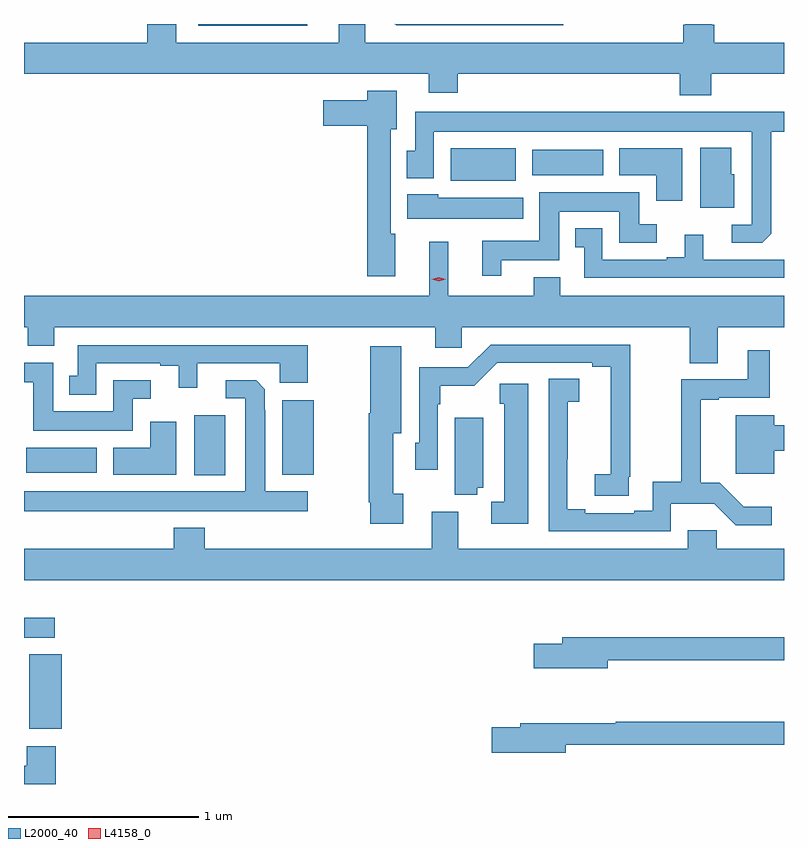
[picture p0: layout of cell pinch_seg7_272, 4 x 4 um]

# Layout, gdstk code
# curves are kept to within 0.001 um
import gdstk
lib = gdstk.Library(unit=1e-6, precision=1e-09)
def R(c, l, rs):  # rectangles x0, y0, x1, y1
    for r in rs: c.add(gdstk.rectangle(r[:2], r[2:], *l))
def P(c, l, *ps):  # polygons
    for p in ps: c.add(gdstk.Polygon(p, *l))
L2000_40 = (2000, 40)
L4158_0 = (4158, 0)

pinch_seg7_272 = lib.new_cell('pinch_seg7_272')
R(pinch_seg7_272, L2000_40, [(531.866,1053.113,532.037,1053.505), (531.838,1053.593,532,1053.697), (532.733,1054.448,532.897,1054.765), (533.198,1054.451,533.364,1054.843), (531.849,1054.46,532.222,1054.594), (534.083,1055.999,534.427,1056.169), (534.513,1056.026,534.886,1056.16), (532.755,1056.813,533.329,1056.823)])
P(pinch_seg7_272, L2000_40, [(534.676,1056.823),(533.789,1056.823),(533.796,1056.816),(534.676,1056.816)],
  [(535.454,1056.56),(535.838,1056.56),(535.838,1056.724),(535.472,1056.724),(535.472,1056.82),(535.459,1056.82),(535.459,1056.823),(535.319,1056.823),(535.319,1056.82),(535.307,1056.82),(535.307,1056.724),(533.634,1056.724),(533.634,1056.823),(533.495,1056.823),(533.495,1056.724),(532.639,1056.724),(532.639,1056.823),(532.487,1056.823),(532.487,1056.724),(531.838,1056.724),(531.838,1056.56),(533.969,1056.56),(533.969,1056.461),(534.122,1056.461),(534.122,1056.56),(535.289,1056.56),(535.289,1056.449),(535.454,1056.449)],
  [(533.791,1055.718),(533.767,1055.718),(533.767,1056.269),(533.8,1056.269),(533.8,1056.472),(533.645,1056.472),(533.645,1056.421),(533.412,1056.421),(533.412,1056.287),(533.645,1056.287),(533.645,1055.496),(533.791,1055.496)],
  [(535.77,1055.719),(535.771,1056.257),(535.838,1056.257),(535.838,1056.361),(533.897,1056.361),(533.897,1056.156),(533.852,1056.156),(533.852,1056.012),(533.994,1056.012),(533.994,1056.257),(535.667,1056.257),(535.667,1055.766),(535.563,1055.766),(535.563,1055.673),(535.724,1055.673)],
  [(535.576,1056.033),(535.561,1056.033),(535.561,1056.172),(535.397,1056.172),(535.397,1055.856),(535.576,1055.856)],
  [(535.303,1056.169),(534.971,1056.169),(534.971,1056.026),(535.166,1056.026),(535.166,1055.892),(535.303,1055.892)],
  [(534.349,1055.579),(534.655,1055.579),(534.655,1055.834),(534.971,1055.834),(534.971,1055.673),(535.168,1055.673),(535.168,1055.769),(535.075,1055.769),(535.075,1055.938),(534.551,1055.938),(534.551,1055.683),(534.251,1055.683),(534.251,1055.499),(534.349,1055.499)],
  [(534.466,1055.908),(534.018,1055.908),(534.018,1055.926),(533.856,1055.926),(533.856,1055.798),(534.466,1055.798)],
  [(535.838,1055.583),(535.414,1055.583),(535.414,1055.713),(535.316,1055.713),(535.316,1055.596),(535.22,1055.596),(535.22,1055.583),(534.882,1055.583),(534.882,1055.749),(534.74,1055.749),(534.74,1055.649),(534.786,1055.649),(534.786,1055.487),(535.838,1055.487)],
  [(535.489,1055.228),(535.838,1055.228),(535.838,1055.392),(534.661,1055.392),(534.661,1055.491),(534.521,1055.491),(534.521,1055.392),(534.071,1055.392),(534.071,1055.677),(533.972,1055.677),(533.972,1055.392),(531.838,1055.392),(531.838,1055.228),(531.857,1055.228),(531.857,1055.129),(531.997,1055.129),(531.997,1055.228),(534.002,1055.228),(534.002,1055.118),(534.141,1055.118),(534.141,1055.228),(535.342,1055.228),(535.342,1055.038),(535.489,1055.038)],
  [(535.022,1054.441),(535.028,1054.441),(535.028,1055.136),(534.294,1055.136),(534.174,1055.016),(533.919,1055.016),(533.919,1054.62),(533.898,1054.62),(533.898,1054.476),(534.015,1054.476),(534.015,1054.823),(534.028,1054.823),(534.028,1054.919),(534.209,1054.919),(534.33,1055.04),(534.83,1055.04),(534.83,1055.02),(534.926,1055.02),(534.925,1054.454),(534.843,1054.454),(534.843,1054.339),(535.022,1054.339)],
  [(532.218,1055.037),(532.556,1055.037),(532.556,1055.025),(532.652,1055.025),(532.652,1054.908),(532.75,1054.908),(532.75,1055.037),(533.184,1055.037),(533.184,1054.934),(533.331,1054.934),(533.331,1055.133),(532.122,1055.133),(532.122,1054.971),(532.076,1054.971),(532.076,1054.871),(532.218,1054.871)],
  [(533.833,1054.35),(533.782,1054.35),(533.782,1054.67),(533.824,1054.67),(533.824,1055.128),(533.66,1055.128),(533.66,1054.774),(533.653,1054.774),(533.653,1054.306),(533.66,1054.306),(533.66,1054.194),(533.833,1054.194)],
  [(535.242,1054.298),(535.471,1054.298),(535.584,1054.185),(535.774,1054.185),(535.774,1054.282),(535.625,1054.282),(535.499,1054.408),(535.4,1054.408),(535.4,1054.845),(535.495,1054.845),(535.495,1054.857),(535.763,1054.857),(535.763,1055.107),(535.646,1055.107),(535.646,1054.953),(535.297,1054.953),(535.297,1054.415),(535.146,1054.415),(535.146,1054.262),(535.049,1054.262),(535.049,1054.248),(534.793,1054.248),(534.793,1054.268),(534.697,1054.268),(534.697,1054.531),(534.699,1054.531),(534.699,1054.835),(534.76,1054.835),(534.76,1054.955),(534.6,1054.955),(534.6,1054.152),(535.242,1054.152)],
  [(532.411,1054.851),(532.504,1054.851),(532.504,1054.947),(532.307,1054.947),(532.307,1054.786),(531.991,1054.786),(531.991,1055.041),(531.838,1055.041),(531.838,1054.937),(531.887,1054.937),(531.887,1054.682),(532.411,1054.682)],
  [(533.332,1054.363),(533.107,1054.363),(533.106,1054.901),(533.06,1054.947),(532.899,1054.947),(532.899,1054.854),(533.003,1054.854),(533.003,1054.363),(531.838,1054.363),(531.838,1054.259),(533.332,1054.259)],
  [(534.493,1054.93),(534.343,1054.93),(534.343,1054.824),(534.365,1054.824),(534.365,1054.308),(534.297,1054.308),(534.297,1054.193),(534.493,1054.193)],
  [(535.786,1054.576),(535.838,1054.576),(535.838,1054.712),(535.786,1054.712),(535.786,1054.765),(535.583,1054.765),(535.583,1054.455),(535.786,1054.455)],
  [(534.224,1054.382),(534.256,1054.382),(534.256,1054.75),(534.104,1054.75),(534.104,1054.345),(534.224,1054.345)],
  [(532.639,1054.729),(532.502,1054.729),(532.502,1054.594),(532.307,1054.594),(532.307,1054.451),(532.639,1054.451)],
  [(535.838,1054.06),(535.483,1054.06),(535.483,1054.158),(535.331,1054.158),(535.331,1054.06),(534.124,1054.06),(534.124,1054.255),(533.984,1054.255),(533.984,1054.06),(532.79,1054.06),(532.79,1054.171),(532.625,1054.171),(532.625,1054.06),(531.838,1054.06),(531.838,1053.896),(535.838,1053.896)],
  [(534.91,1053.474),(535.838,1053.474),(535.838,1053.595),(534.671,1053.595),(534.671,1053.561),(534.522,1053.561),(534.522,1053.431),(534.91,1053.431)],
  [(534.688,1053.03),(535.838,1053.03),(535.838,1053.151),(534.953,1053.151),(534.953,1053.143),(534.449,1053.143),(534.449,1053.122),(534.3,1053.122),(534.3,1052.987),(534.688,1052.987)],
  [(532.004,1053.022),(531.852,1053.022),(531.852,1052.919),(531.838,1052.919),(531.838,1052.823),(532.004,1052.823)])
P(pinch_seg7_272, L4158_0, [(534.021,1055.47),(533.985,1055.48),(533.985,1055.48),(533.985,1055.48),(534.021,1055.49),(534.057,1055.48),(534.057,1055.48),(534.057,1055.48)])

lib.write_gds('pinch_seg7_272.gds')
